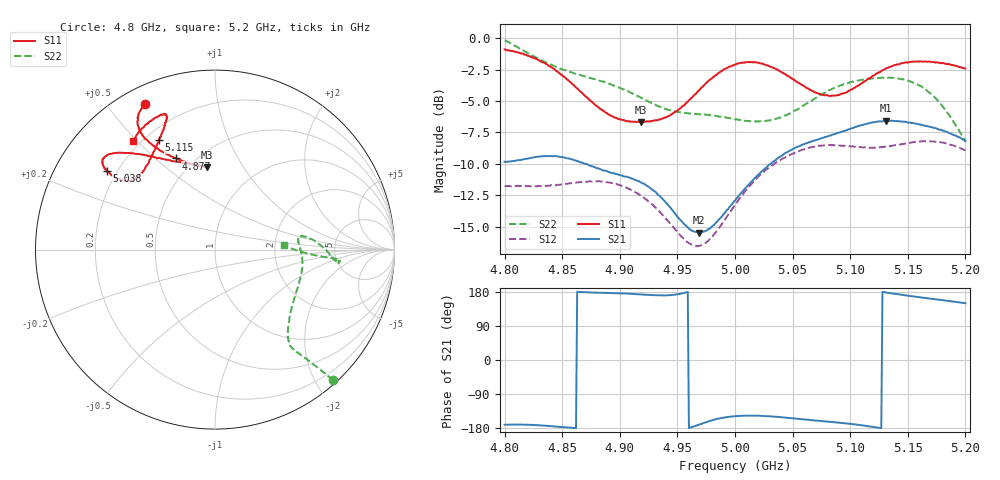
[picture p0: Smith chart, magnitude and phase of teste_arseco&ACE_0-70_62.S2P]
! Network Analyzer HP8722D
! Hewlett-Packard
! Data name: Linha & Wilkinson
! Saver's name: Rodrigo Anjos
! Comments: Teste da utilização de aquisição
! continua pelo VNA HP8722D
! Time and date: 8/5/2025 13:16
!  Frequency  S11  S21  S12  S22
# HZ  S  MA R 50
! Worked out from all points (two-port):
!   401 points, 4.8 GHz to 5.2 GHz, reference 50 ohm
!   highest |S21| = -6.56 dB at 5.131 GHz (marker M1); lowest = -15.5 dB at 4.969 GHz (marker M2)
!   |S21| within 3 dB of the highest: 4.822 GHz to 4.854 GHz (32.72 MHz wide, 0.676 % of centre); 5.037 GHz to end of sweep
!   lowest |S11| = -6.7 dB at 4.918 GHz (marker M3), VSWR 2.72, Z = 30 + j35.2 ohm
!   |S11| at or under -10 dB: nowhere
!   |S22| runs from -8.2 to -0.2 dB; largest |S21 - S12| = 0.83
!   S11 on the Smith chart (normalised r, x): 4.8 GHz: 0.07, +0.63; 4.877 GHz: 0.40, +0.59; 5.038 GHz: 0.16, +0.32; 5.115 GHz: 0.25, +0.58; 5.2 GHz: 0.17, +0.48
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4.8e9  0.902 115.6  0.3223 -170.8  0.258 -86.2  0.9796 -47.8
4.819e9  0.8571 120.1  0.3313 -170.9  0.2573 -82.0  0.8793 -49.0
4.835e9  0.7944 122.3  0.3399 -173.4  0.2583 -76.7  0.8042 -50.0
4.867e9  0.6071 117.5  0.32 179.2  0.2678 -67.8  0.7111 -51.7
4.877e9  0.5517 113.0  0.308 178.0  0.2697 -66.8  0.6888 -52.0
4.899e9  0.4774 101.3  0.2859 176.0  0.2614 -67.2  0.6375 -50.3
4.918e9  0.4626 95.8  0.2671 173.1  0.2366 -69.3  0.5803 -45.0
4.934e9  0.4751 99.5  0.2369 170.6  0.2055 -69.9  0.5348 -37.0
4.958e9  0.554 116.4  0.1781 178.7  0.155 -59.0  0.5034 -21.2
4.969e9  0.6223 123.7  0.1683 -170.2  0.149 -46.5  0.4985 -14.7
4.98e9  0.6925 129.7  0.1781 -159.0  0.1617 -34.3  0.4937 -9.0
5e9  0.7848 137.1  0.226 -148.5  0.2172 -21.6  0.4754 -0.2
5.019e9  0.8006 141.6  0.2827 -147.1  0.2772 -18.9  0.4661 6.0
5.038e9  0.7446 144.0  0.3348 -150.4  0.3252 -19.0  0.4817 8.8
5.067e9  0.6178 141.6  0.3898 -158.7  0.369 -21.2  0.5663 4.2
5.088e9  0.5918 132.7  0.4183 -164.8  0.375 -24.4  0.6389 -2.3
5.115e9  0.6867 117.0  0.4575 -174.5  0.3665 -27.4  0.6888 -6.0
5.131e9  0.7585 111.6  0.4701 178.2  0.3704 -29.0  0.6948 -5.6
5.134e9  0.7675 110.9  0.4679 177.0  0.3716 -29.4  0.6957 -5.3
5.162e9  0.8082 112.6  0.4514 164.9  0.3887 -36.2  0.6417 -4.1
5.181e9  0.796 119.2  0.4288 157.5  0.3836 -42.1  0.5298 -2.8
5.2e9  0.7574 127.3  0.3899 149.8  0.3578 -47.2  0.3876 3.4
